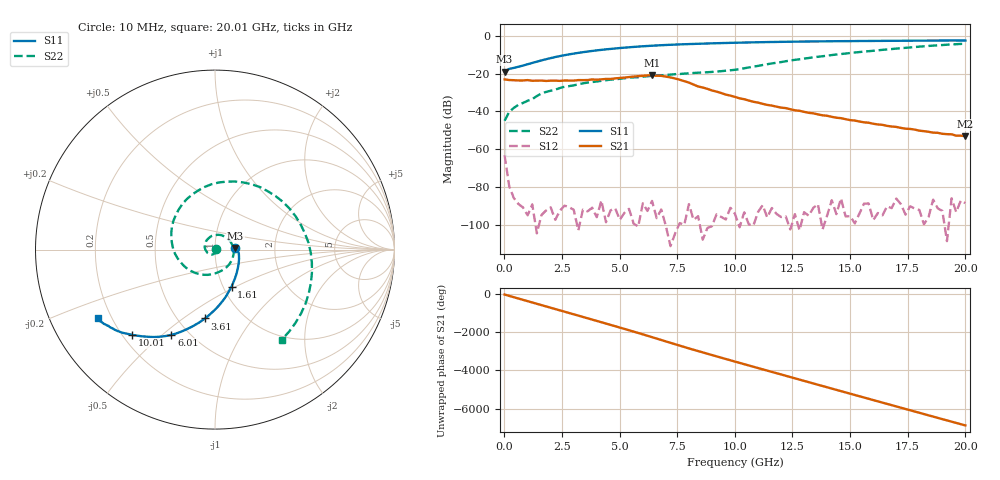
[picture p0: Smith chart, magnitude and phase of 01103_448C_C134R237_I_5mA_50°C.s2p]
!;Filter: kein Filter
!auto
!3/21/2019 9:27:39 AM
!3/21/2019 9:27:53 AM
!SP-Measurements Prober G4
!SP-Measurements Prober G4
!01103_448C
!134
!237
!12
!50
!-20
!0.00499992
!1.96
!0.64375220
!0.64375220
# Hz S  RI  R 50
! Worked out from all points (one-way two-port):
!   101 points, 10 MHz to 20.01 GHz, reference 50 ohm
!   highest |S21| = -20.87 dB at 6.41 GHz (marker M1); lowest = -53.2 dB at 20.01 GHz (marker M2)
!   lowest |S11| = -19.0 dB at 10 MHz (marker M3), VSWR 1.25, Z = 62.6 + j1.06 ohm
!   |S11| at or under -10 dB: start of sweep to 2.689 GHz
!   |S22| runs from -44.9 to -4.1 dB; largest |S21 - S12| = 0.09
!   S11 on the Smith chart (normalised r, x): 10 MHz: 1.25, +0.02; 1.61 GHz: 1.09, -0.48; 3.61 GHz: 0.67, -0.61; 6.01 GHz: 0.40, -0.54; 10.01 GHz: 0.24, -0.40; 20.01 GHz: 0.15, -0.27
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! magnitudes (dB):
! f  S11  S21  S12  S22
! 10 MHz  -19.0  -23.0  -63.2  -44.9
! 210 MHz  -17.4  -23.3  -79.7  -40.2
! 610 MHz  -16.3  -23.6  -89.0  -36.4
! 1.01 GHz  -15.0  -23.4  -95.0  -34.3
! 1.21 GHz  -14.3  -23.7  -89.2  -33.5
! 1.61 GHz  -12.9  -23.6  -94.9  -30.4
! 2.61 GHz  -10.2  -23.6  -89.9  -26.9
! 3.41 GHz  -8.6  -23.4  -92.0  -25.1
! 3.61 GHz  -8.2  -23.3  -92.9  -24.7
! 4.61 GHz  -6.8  -22.8  -92.4  -23.2
! 6.01 GHz  -5.5  -21.1  -88.7  -21.5
! 6.41 GHz  -5.2  -20.9  -87.4  -21.1
! 6.81 GHz  -4.9  -21.1  -91.9  -20.9
! 7.61 GHz  -4.5  -23.2  -99.2  -20.1
! 8.41 GHz  -4.1  -26.8  -95.5  -19.5
! 10.01 GHz  -3.6  -32.3  -94.3  -17.9
! 11.41 GHz  -3.2  -36.5  -96.2  -15.0
! 13.41 GHz  -2.9  -41.0  -91.0  -11.3
! 15.01 GHz  -2.7  -44.6  -95.5  -9.0
! 16.81 GHz  -2.6  -48.0  -91.2  -6.9
! 18.61 GHz  -2.4  -51.2  -86.7  -5.1
! 20.01 GHz  -2.4  -53.2  -88.5  -4.1
